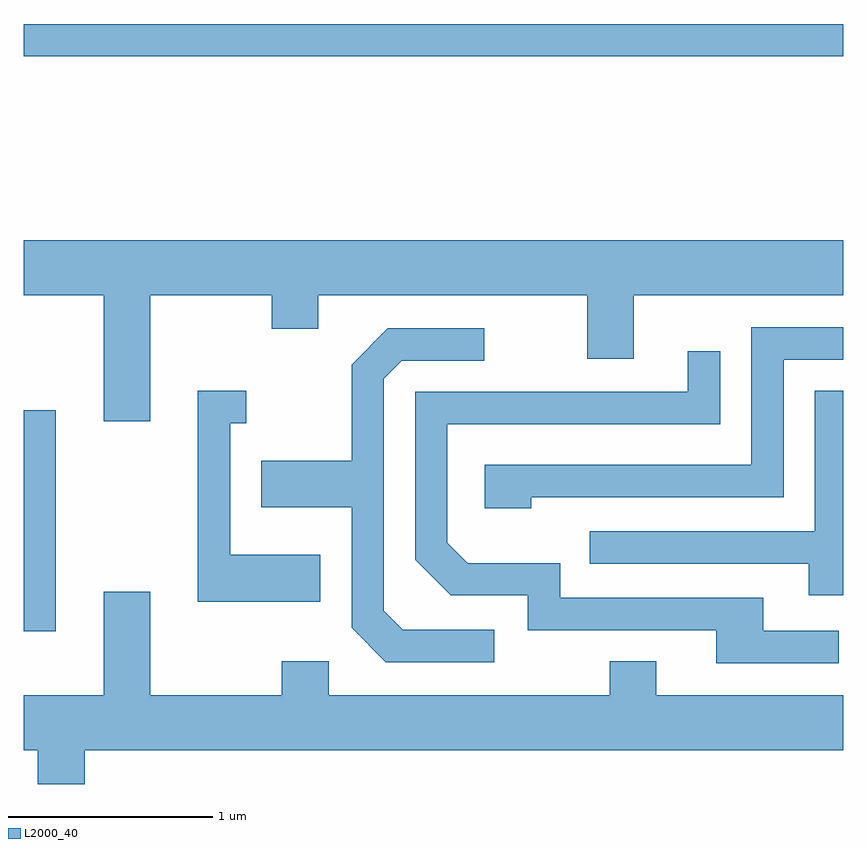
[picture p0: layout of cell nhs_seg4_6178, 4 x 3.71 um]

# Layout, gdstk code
import gdstk
lib = gdstk.Library(unit=1e-6, precision=1e-09)
def R(c, l, rs):  # rectangles x0, y0, x1, y1
    for r in rs: c.add(gdstk.rectangle(r[:2], r[2:], *l))
def P(c, l, *ps):  # polygons
    for p in ps: c.add(gdstk.Polygon(p, *l))
L2000_40 = (2000, 40)

nhs_seg4_6178 = lib.new_cell('nhs_seg4_6178')
R(nhs_seg4_6178, L2000_40, [(365.611,1370.796,365.769,1371.874), (365.611,1373.601,369.611,1373.759)])
P(nhs_seg4_6178, L2000_40, [(366.229,1372.436),(366.821,1372.436),(366.821,1372.271),(367.049,1372.271),(367.049,1372.436),(368.361,1372.436),(368.361,1372.126),(368.589,1372.126),(368.589,1372.436),(369.611,1372.436),(369.611,1372.704),(365.611,1372.704),(365.611,1372.436),(366.001,1372.436),(366.001,1371.821),(366.229,1371.821)],
  [(368.089,1371.451),(369.319,1371.451),(369.319,1372.121),(369.611,1372.121),(369.611,1372.279),(369.161,1372.279),(369.161,1371.609),(367.861,1371.609),(367.861,1371.396),(368.089,1371.396)],
  [(367.908,1370.804),(367.462,1370.804),(367.369,1370.897),(367.369,1372.029),(367.457,1372.116),(367.858,1372.116),(367.858,1372.274),(367.389,1372.274),(367.211,1372.097),(367.211,1371.629),(366.771,1371.629),(366.771,1371.401),(367.211,1371.401),(367.211,1370.814),(367.379,1370.646),(367.908,1370.646)],
  [(369.588,1370.799),(369.219,1370.799),(369.219,1370.959),(368.229,1370.959),(368.229,1371.129),(367.777,1371.129),(367.679,1371.227),(367.679,1371.806),(369.009,1371.806),(369.009,1372.163),(368.851,1372.163),(368.851,1371.964),(367.521,1371.964),(367.521,1371.144),(367.694,1370.971),(368.071,1370.971),(368.071,1370.801),(368.991,1370.801),(368.991,1370.641),(369.588,1370.641)],
  [(369.611,1371.969),(369.471,1371.969),(369.471,1371.284),(368.373,1371.284),(368.373,1371.126),(369.441,1371.126),(369.441,1370.971),(369.611,1370.971)],
  [(367.059,1371.169),(366.619,1371.169),(366.619,1371.811),(366.698,1371.811),(366.698,1371.969),(366.461,1371.969),(366.461,1370.941),(367.059,1370.941)],
  [(365.909,1370.216),(369.611,1370.216),(369.611,1370.484),(368.699,1370.484),(368.699,1370.649),(368.471,1370.649),(368.471,1370.484),(367.099,1370.484),(367.099,1370.649),(366.871,1370.649),(366.871,1370.484),(366.229,1370.484),(366.229,1370.989),(366.001,1370.989),(366.001,1370.484),(365.611,1370.484),(365.611,1370.216),(365.681,1370.216),(365.681,1370.051),(365.909,1370.051)])

lib.write_gds('nhs_seg4_6178.gds')
